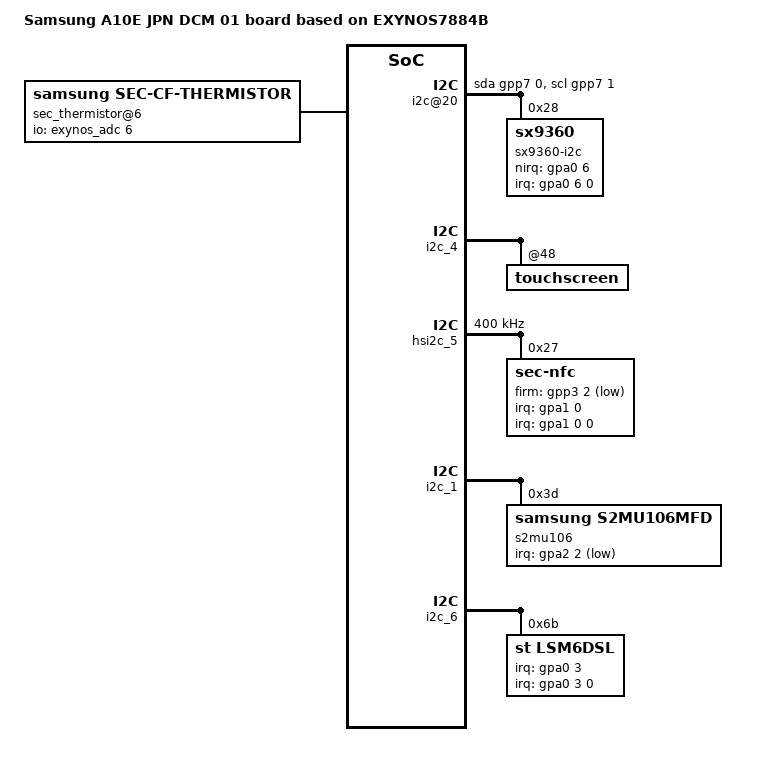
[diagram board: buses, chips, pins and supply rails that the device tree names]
/*
 * SAMSUNG EXYNOS7884B board device tree source

 *
 * Copyright (c) 2018 Samsung Electronics Co., Ltd.
 *		http://www.samsung.com
 *
 * This program is free software; you can redistribute it and/or modify
 * it under the terms of the GNU General Public License version 2 as
 * published by the Free Software Foundation.
*/

/dts-v1/;
/plugin/;

#include "exynos7884B-a10eve_common.dtsi"
#include "exynos7884B-a10e_jpn_dcm_gpio_01.dtsi"

/ {
	compatible = "samsung,A10E JPN DCM 01", "samsung,EXYNOS7884B";

	dtbo-hw_rev = <1>;
    dtbo-hw_rev_end = <255>;


	fragment@model {
		target-path = "/";
		__overlay__ {
			#address-cells = <2>;
			#size-cells = <1>;

			model = "Samsung A10E JPN DCM 01 board based on EXYNOS7884B";

			fm@14840000 {
				without_elna = <1>;
				num-trfon-freq = <56>;
				val-trfon-freq = <87500 87600 88300 88400 89000 89100 89800 89900
					90600 90700 91300 91400 92100 92200 92900 93000 93600 93700
					94400 94500 95200 95300 96700 96800 97500 97600 98300 98400 99000 99800 99900 99100
					100000 100600 100700 101300 101400 101500 101600 102100 102200 102900 103000 103600
					103700 104000 104400 104500 105200 105300 105900 106000 106700 106800 107500 107600 >;
				spur-trfon-freq = <1536>;
			};

			sec_thermistor@6 {
				compatible = "samsung,sec-cf-thermistor";
				status = "okay";

				adc_array = <275 324 380 450 528 619 729 856 1003 1161
					1345 1545 1766 1980 2222 2457 2685 2901 3102 3279
					3426 3551 3659>;
				temp_array = <900 850 800 750 700 650 600 550 500 450
					400 350 300 250 200 150 100 50 0 (-50)
					(-100) (-150) (-200)>;

				io-channels = <&exynos_adc 6>;
				io-channel-names = "adc-cf-temp";
				io-channel-ranges;
			};

			i2c@20 {
				compatible = "i2c-gpio";
				gpios = <&gpp7 0 0
						&gpp7 1 0>;
				i2c-gpio,delay-us = <2>;
				pinctrl-names = "default";
				pinctrl-0 = <&grip_i2c>;
				#address-cells = <1>;
				#size-cells = <0>;
				status = "okay";

				sx9360-i2c@28 {
					compatible = "sx9360";
					pinctrl-names = "default";
					pinctrl-0 = <&grip_int &grip_en>;
					reg = <0x28>;
					interrupt-parent = <&gpa0>;
					interrupts = <6 0 0>;
					sx9360,nirq-gpio = <&gpa0 6 0>;

					sx9360,reggnrlctrl2 = <0x28>;		/* scanperiod: 81ms */
					sx9360,regafeparam1phm = <0x63>;	/* again : 9 pF, sampling freq : 142.86 khz */
					sx9360,regproxctrl0phm = <0x21>;	/* gain: x4, rawfilt : 1-1/2 */
					sx9360,regproxctrl5 = <0x5F>;		/* threshold: 4512 */
					sx9360,regproxctrl4 = <0x15>;		/* hysteresis: small, closedeb: 2 samples, fardeb: 2 samples */
					sx9360,regproxctrl3 = <0x0D>;		/* AVGPOSFILT: 1/512, AVGNEGFILT: 1/2 */
					sx9360,regafeparam0phm = <0x0E>;	/* resolution: 512 */
					sx9360,hallic_detect = <1>;
				};
			};
		}; /* end of __overlay__ */
	}; /* end of fragment */
}; /* end of root */

&i2c_4 {
	touchscreen@48 {
		status = "okay";
	};
};

&pinctrl_0 { //11CB0000
	nfc_clk: nfc-clk {
		samsung,pins = "gpq0-0";
		samsung,pin-function = <2>;
		samsung,pin-pud = <0>;
	};

	nfc_int: nfc-int {
		samsung,pins = "gpa1-0";
		samsung,pin-function = <0>;
		samsung,pin-pud = <1>;
	};
};

&pinctrl_3 { //139B0000
	nfc_pvdd_en: nfc_pvdd_en {
		samsung,pins = "gpp6-4";
		samsung,pin-function = <1>;
		samsung,pin-pud = <0>;
		samsung,pin-val = <0>;
		samsung,pin-con-pdn = <3>;
		samsung,pin-pud-pdn = <0>;
	};

	nfc_firm: nfc_firm {
		samsung,pins = "gpp3-2";
		samsung,pin-function = <1>;
		samsung,pin-pud = <0>;
		samsung,pin-val = <0>;
		samsung,pin-con-pdn = <3>;
		samsung,pin-pud-pdn = <0>;
	};

	nfc_pd: nfc_pd {
		samsung,pins = "gpp2-2";
		samsung,pin-function = <2>;
		samsung,pin-pud = <0>;
		samsung,pin-drv = <0>;
		samsung,pin-con-pdn = <3>;
		samsung,pin-pud-pdn = <0>;
	};

	nfc_clk_req: nfc_clk_req {
		samsung,pins = "gpp2-3";
		samsung,pin-function = <2>;
		samsung,pin-pud = <1>;
		samsung,pin-drv = <0>;
		samsung,pin-con-pdn = <3>;
		samsung,pin-pud-pdn = <0>;
	};
};

&hsi2c_5 {
	status = "okay";
	clock-frequency = <400000>;  /*   400 kHz  */
	sec-nfc@27{
		compatible = "sec-nfc";
		reg = <0x27>;

		interrupt-parent = <&gpa1>;
		interrupts = <0 0 0>;

		sec-nfc,nfc_pd = <&gpp2 2 0x2>;
		sec-nfc,firm-gpio = <&gpp3 2 1>;
		sec-nfc,irq-gpio = <&gpa1 0 0>;
		sec-nfc,pvdd_en = <&gpp6 4 1>;
		clkctrl-reg = <0x11C8600C>;

		pinctrl-names = "default";
		pinctrl-0 = <&nfc_pd &nfc_firm &nfc_int &nfc_pvdd_en>;
	};
};

&i2c_1 {
	#address-cells = <1>;
	#size-cells = <0>;
	status = "okay";
	samsung,i2c-max-bus-freq = <400000>;
	s2mu106@3D {
		status = "okay";
		compatible = "samsung,s2mu106mfd";
		reg = <0x3D>;
		pinctrl-names = "default";
		pinctrl-0 = <&if_pmic_irq>;
		s2mu106,irq-gpio = <&gpa2 2 1>;
		s2mu106,wakeup;
	};
};

/* FSYS */
&pinctrl_2 {//13430000
	sd0_cmd: sd0-cmd {
		samsung,pins = "gpf0-1";
		samsung,pin-function = <2>;
		samsung,pin-pud = <3>;
		samsung,pin-drv = <2>;
	};

	sd0_bus1: sd0-bus-width1 {
		samsung,pins = "gpf2-0";
		samsung,pin-function = <2>;
		samsung,pin-pud = <3>;
		samsung,pin-drv = <2>;
	};

	sd0_bus4: sd0-bus-width4 {
		samsung,pins = "gpf2-1", "gpf2-2", "gpf2-3";
		samsung,pin-function = <2>;
		samsung,pin-pud = <3>;
		samsung,pin-drv = <2>;
	};

	sd0_bus8: sd0-bus-width8 {
		samsung,pins = "gpf2-4", "gpf2-5", "gpf2-6", "gpf2-7";
		samsung,pin-function = <2>;
		samsung,pin-pud = <3>;
		samsung,pin-drv = <2>;
	};
};

&i2c_6 {
	status = "okay";
	#address-cells = <1>;
	#size-cells = <0>;
	samsung,i2c-sda-delay = <100>;
	samsung,i2c-max-bus-freq = <400000>;
	pinctrl-names = "default";
	pinctrl-0 = <&i2c6_bus>;

	lsm6dsl@6b { 
		compatible = "st,lsm6dsl"; 
		reg = <0x6b>; 
		gpio-controller; 
		#gpio-cells = <2>;
		pinctrl-names = "default"; 
		pinctrl-0 = <&acc_int>; 
		interrupt-parent = <&gpa0>; 
		interrupts = <3 0 0>; 
		st,irq_gpio = <&gpa0 3 0>; 
		st,orientation = <1 0 1 2 1 1 1 1 2>;
		};
};
